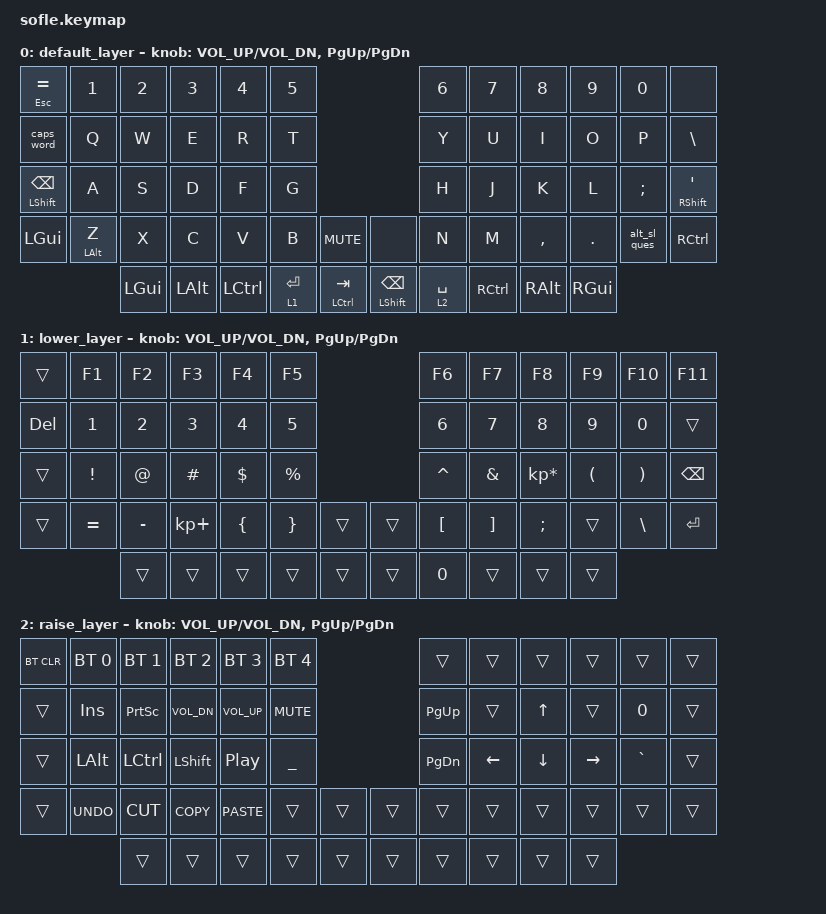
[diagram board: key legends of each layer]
/*
 * Copyright (c) 2020 The ZMK Contributors
 *
 * SPDX-License-Identifier: MIT
 */

#include <behaviors.dtsi>
#include <dt-bindings/zmk/keys.h>
#include <dt-bindings/zmk/bt.h>

/ {
    behaviors {
        alt_sl_ques: alt_slash_questionmark {
            compatible = "zmk,behavior-tap-dance";
            #binding-cells = <0>;
            tapping-term-ms = <200>;
            bindings = <&mt RALT FSLH>, <&kp QMARK>;
        };
    };
    keymap {
        compatible = "zmk,keymap";

        default_layer {
// ------------------------------------------------------------------------------------------------------------
// | ESC =       | 1  |  2  |  3   |  4   |  5   |                   |  6   |  7    |  8    |  9   |   0   |      |
// | CAPS WORD   |  Q |  W  |  E   |  R   |  T   |                   |  Y   |  U    |  I    |  O   |   P   |  \   |
// | SHIFT BKSPC | A  |  S  |  D   |  F   |  G   |                   |  H   |  J    |  K    |  L   |   ;   | SHIFT ' |
// | SHIFT       |  ALT Z  |  X  |  C   |  V   |  B   |  MUTE  |  |       |  N   |  M    |  ,    |  .   |   ALT /   | CTRL |
//               | GUI | ALT  | CTRL | LOWER ENTER |  CTRL TAB |  | SHIFT BKSPC | RAISE| CTRL  | ALT   | GUI  |
            bindings = <
&mt ESC EQUAL &kp N1 &kp N2   &kp N3   &kp N4    &kp N5                      &kp N6 &kp N7    &kp N8    &kp N9   &kp N0   &none
&caps_word &kp Q  &kp W    &kp E    &kp R     &kp T                       &kp Y  &kp U     &kp I     &kp O    &kp P    &kp BSLH
&mt LSHFT BSPC   &kp A  &kp S    &kp D    &kp F     &kp G                       &kp H  &kp J     &kp K     &kp L    &kp SEMI &mt RSHFT APOS
&kp LGUI &mt LALT Z  &kp X    &kp C    &kp V     &kp B  &kp C_MUTE &none     &kp N  &kp M     &kp COMMA &kp DOT  &alt_sl_ques &kp RCTRL
                 &kp LGUI &kp LALT &kp LCTRL &lt 1 RET &mt LCTRL TAB    &mt LSHIFT BSPC &lt 2 SPACE &kp RCTRL &kp RALT  &kp RGUI
            >;

            sensor-bindings = <&inc_dec_kp C_VOL_UP C_VOL_DN &inc_dec_kp PG_UP PG_DN>;
        };

        lower_layer {
// TODO: Some binds are waiting for shifted keycode support.
// ------------------------------------------------------------------------------------------------------------
// |       |  F1 |  F2 |  F3  |  F4  |  F5  |                   |  F6  |  F7   |  F8   |  F9  |  F10  |  F11  |
// | DEL   |   1 |   2 |   3  |   4  |   5  |                   |   6  |   7   |   8   |   9  |    0  |       |
// |       |  !  |  @  |  #   |  $   |  %   |                   |  ^   |  &    |  *    |  (   |   )   | BKSPC |
// |       |  =  |  -  |  +   |  {   |  }   |        |  |       |  [   |  ]    |  ;    |      |   \   | ENTER |
//               |     |      |      |      |        |  |       |      |  0    |       |      |
            bindings = <
&trans    &kp F1    &kp F2    &kp F3      &kp F4    &kp F5                    &kp F6    &kp F7   &kp F8          &kp F9    &kp F10   &kp F11
&kp DEL &kp N1    &kp N2    &kp N3      &kp N4    &kp N5                    &kp N6    &kp N7   &kp N8          &kp N9    &kp N0    &trans
&trans    &kp EXCL  &kp AT    &kp HASH    &kp DLLR  &kp PRCNT                 &kp CARET &kp AMPS &kp KP_MULTIPLY &kp LPAR  &kp RPAR  &kp BSPC
&trans    &kp EQUAL &kp MINUS &kp KP_PLUS &kp LBRC  &kp RBRC  &trans   &trans &kp LBKT  &kp RBKT &kp SEMI        &trans  &kp BSLH  &kp RET
                    &trans    &trans      &trans    &trans    &trans   &trans &kp N0    &trans   &trans          &trans
            >;

            sensor-bindings = <&inc_dec_kp C_VOL_UP C_VOL_DN &inc_dec_kp PG_UP PG_DN>;
        };



        raise_layer {
// ------------------------------------------------------------------------------------------------------------
            bindings = <
// |   BTCLR  | BT1        | BT2        |  BT3       |  BT4       |  BT5 |           |         |         |        |         |       |       |
   &bt BT_CLR &bt BT_SEL 0 &bt BT_SEL 1 &bt BT_SEL 2 &bt BT_SEL 3 &bt BT_SEL 4       &trans    &trans    &trans   &trans    &trans  &trans
// |      | INS    | PSCR     | VOL_DOWN   | VOL_UP      | MUTE |                     | PGUP    |         |   ^    |        |       |       |
   &trans &kp INS  &kp PSCRN  &kp C_VOL_DN &kp C_VOL_UP  &kp C_MUTE                   &kp PG_UP &trans    &kp UP   &trans   &kp N0  &trans
// |       | ALT     | CTRL      | SHIFT    | PLAY/PAUSE  |   _    |                | PGDN    |   <-    |   v    |  ->     |  GRAVE  |     |
   &trans  &kp LALT  &kp LCTRL   &kp LSHFT  &kp C_PP      &kp UNDER                 &kp PG_DN &kp LEFT  &kp DOWN &kp RIGHT &kp GRAVE &trans
// |      | UNDO     | CUT     | COPY     | PASTE      |       |      | |       |      |      |      |      |       |       |
   &trans &kp K_UNDO &kp K_CUT &kp K_COPY &kp K_PASTE  &trans  &trans   &trans  &trans &trans &trans &trans &trans  &trans
//              |      |       |       |      |    |    |       |      |      |      |      |
                &trans &trans  &trans  &trans &trans    &trans  &trans &trans &trans &trans
            >;
            sensor-bindings = <&inc_dec_kp C_VOL_UP C_VOL_DN &inc_dec_kp PG_UP PG_DN>;
        };
    };
};
